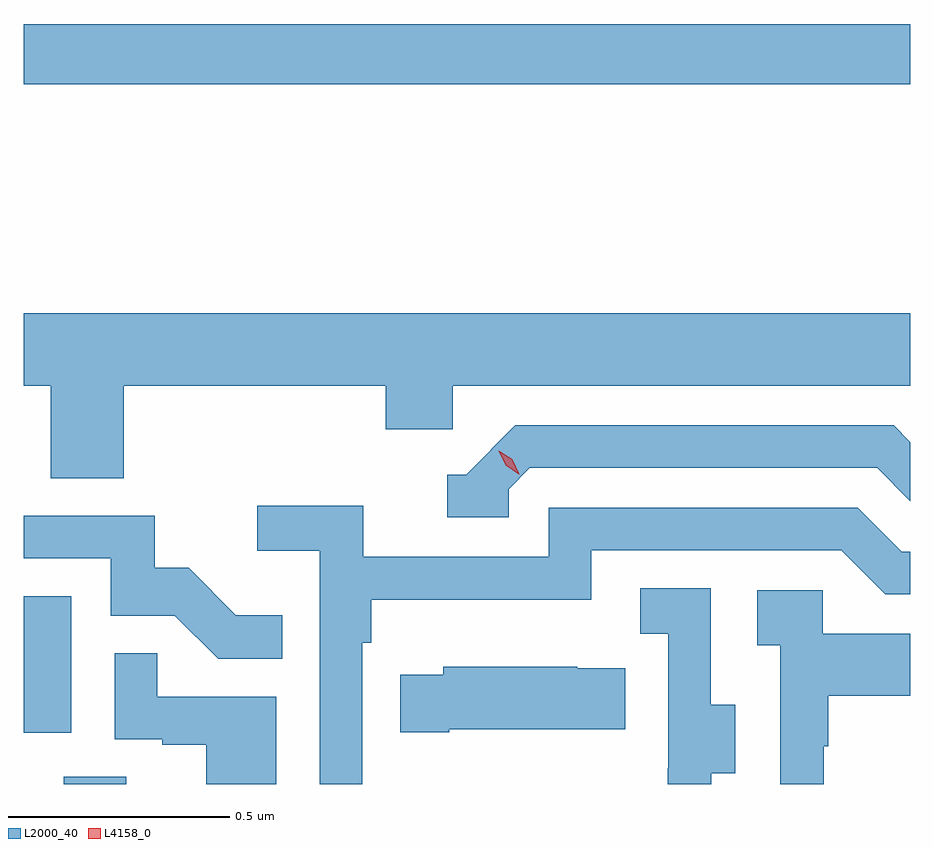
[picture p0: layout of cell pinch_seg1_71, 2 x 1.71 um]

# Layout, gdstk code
import gdstk
lib = gdstk.Library(unit=1e-6, precision=1e-09)
def R(c, l, rs):  # rectangles x0, y0, x1, y1
    for r in rs: c.add(gdstk.rectangle(r[:2], r[2:], *l))
def P(c, l, *ps):  # polygons
    for p in ps: c.add(gdstk.Polygon(p, *l))
L2000_40 = (2000, 40)
L4158_0 = (4158, 0)

pinch_seg1_71 = lib.new_cell('pinch_seg1_71')
R(pinch_seg1_71, L2000_40, [(1019.501,574.81,1019.641,574.826), (1019.41,574.926,1019.518,575.233), (1019.41,576.388,1021.41,576.524)])
P(pinch_seg1_71, L2000_40, [(1019.636,575.708),(1020.227,575.708),(1020.227,575.61),(1020.378,575.61),(1020.378,575.708),(1021.41,575.708),(1021.41,575.872),(1019.41,575.872),(1019.41,575.708),(1019.471,575.708),(1019.471,575.5),(1019.636,575.5)],
  [(1020.504,575.475),(1020.552,575.523),(1021.335,575.523),(1021.41,575.448),(1021.41,575.581),(1021.372,575.619),(1020.519,575.619),(1020.408,575.508),(1020.365,575.508),(1020.365,575.412),(1020.504,575.412)],
  [(1020.174,575.129),(1020.194,575.129),(1020.194,575.225),(1020.69,575.225),(1020.69,575.337),(1021.254,575.337),(1021.353,575.238),(1021.41,575.238),(1021.41,575.334),(1021.39,575.334),(1021.291,575.433),(1020.594,575.433),(1020.594,575.322),(1020.176,575.322),(1020.176,575.438),(1019.937,575.438),(1019.937,575.336),(1020.078,575.336),(1020.078,574.81),(1020.174,574.81)],
  [(1019.993,575.191),(1019.889,575.191),(1019.782,575.298),(1019.706,575.298),(1019.706,575.415),(1019.41,575.415),(1019.41,575.319),(1019.607,575.319),(1019.607,575.19),(1019.751,575.19),(1019.849,575.092),(1019.993,575.092)],
  [(1020.961,574.834),(1021.015,574.834),(1021.015,574.989),(1020.96,574.989),(1020.96,575.252),(1020.801,575.252),(1020.801,575.149),(1020.864,575.149),(1020.864,574.845),(1020.863,574.845),(1020.863,574.81),(1020.961,574.81)],
  [(1021.215,574.895),(1021.225,574.895),(1021.225,575.009),(1021.41,575.009),(1021.41,575.149),(1021.212,575.149),(1021.212,575.247),(1021.065,575.247),(1021.065,575.123),(1021.116,575.123),(1021.116,574.81),(1021.215,574.81)],
  [(1019.98,575.007),(1019.711,575.007),(1019.711,575.105),(1019.616,575.105),(1019.616,574.911),(1019.723,574.911),(1019.723,574.899),(1019.822,574.899),(1019.822,574.81),(1019.98,574.81)],
  [(1020.37,574.934),(1020.767,574.934),(1020.767,575.071),(1020.659,575.071),(1020.659,575.074),(1020.357,575.074),(1020.357,575.056),(1020.259,575.056),(1020.259,574.927),(1020.37,574.927)])
P(pinch_seg1_71, L4158_0, [(1020.527,575.509),(1020.497,575.529),(1020.482,575.562),(1020.482,575.562),(1020.482,575.562),(1020.512,575.542),(1020.528,575.509),(1020.528,575.509)])

lib.write_gds('pinch_seg1_71.gds')
